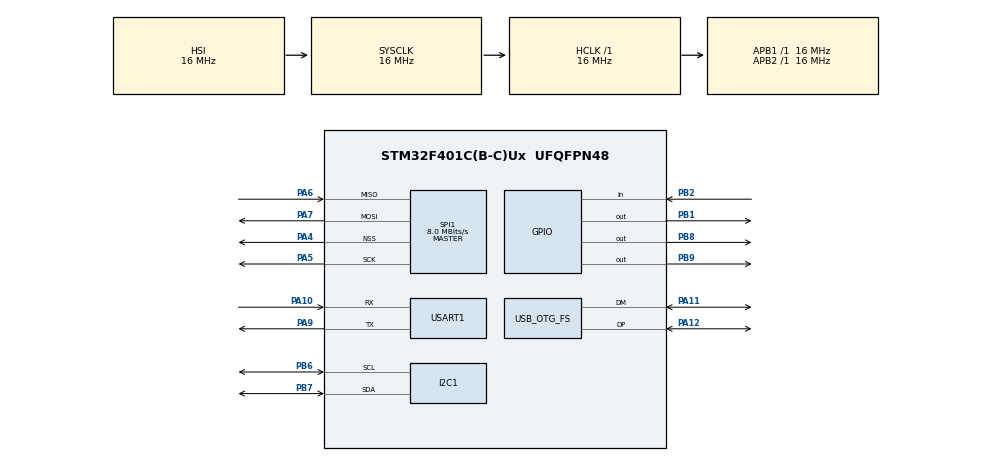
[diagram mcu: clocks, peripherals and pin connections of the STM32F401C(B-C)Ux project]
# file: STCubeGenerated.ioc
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FREERTOS.Tasks01=defaultTask,24,128,StartDefaultTask,Default,NULL,Dynamic,NULL,NULL;LEDOn,8,128,LEDTurnOn,Default,NULL,Dynamic,NULL,NULL;LEDOff,8,128,LEDTurnOff,Default,NULL,Dynamic,NULL,NULL
Mcu.Family=STM32F4
Mcu.Name=STM32F401C(B-C)Ux
Mcu.Package=UFQFPN48
NVIC.OTG_FS_IRQn=true\:5\:0\:false\:false\:true\:true\:false\:true
NVIC.PriorityGroup=NVIC_PRIORITYGROUP_4
NVIC.TIM3_IRQn=true\:0\:0\:false\:false\:true\:false\:false\:true
NVIC.TimeBase=TIM3_IRQn
NVIC.TimeBaseIP=TIM3
PA10.Mode=Asynchronous
PA10.Signal=USART1_RX
PA11.Mode=Device_Only
PA11.Signal=USB_OTG_FS_DM
PA12.Mode=Device_Only
PA12.Signal=USB_OTG_FS_DP
PA13.Mode=Serial_Wire
PA13.Signal=SYS_JTMS-SWDIO
PA14.Mode=Serial_Wire
PA14.Signal=SYS_JTCK-SWCLK
PA4.Mode=NSS_Signal_Hard_Output
PA4.Signal=SPI1_NSS
PA5.Mode=Full_Duplex_Master
PA5.Signal=SPI1_SCK
PA6.Mode=Full_Duplex_Master
PA6.Signal=SPI1_MISO
PA7.Mode=Full_Duplex_Master
PA7.Signal=SPI1_MOSI
PA9.Mode=Asynchronous
PA9.Signal=USART1_TX
PB1.Signal=GPIO_Output
PB2.Signal=GPIO_Input
PB6.Mode=I2C
PB6.Signal=I2C1_SCL
PB7.Mode=I2C
PB7.Signal=I2C1_SDA
PB8.Signal=GPIO_Output
PB9.Signal=GPIO_Output
PC14-OSC32_IN.Mode=LSE-External-Oscillator
PC14-OSC32_IN.Signal=RCC_OSC32_IN
PC15-OSC32_OUT.Mode=LSE-External-Oscillator
PC15-OSC32_OUT.Signal=RCC_OSC32_OUT
PH0\ -\ OSC_IN.Mode=HSE-External-Oscillator
PH0\ -\ OSC_IN.Signal=RCC_OSC_IN
PH1\ -\ OSC_OUT.Mode=HSE-External-Oscillator
PH1\ -\ OSC_OUT.Signal=RCC_OSC_OUT
ProjectManager.HeapSize=0x200
ProjectManager.StackSize=0x400
ProjectManager.TargetToolchain=MDK-ARM V5
RCC.48MHZClocksFreq_Value=48000000
RCC.AHBFreq_Value=16000000
RCC.APB1Freq_Value=16000000
RCC.APB2Freq_Value=16000000
RCC.CortexFreq_Value=16000000
RCC.HSE_VALUE=25000000
RCC.HSI_VALUE=16000000
RCC.PLLM=15
RCC.PLLN=144
RCC.PLLQ=5
RCC.SYSCLKFreq_VALUE=16000000
RCC.VCOOutputFreq_Value=240000000
SPI1.CalculateBaudRate=8.0 MBits/s
SPI1.Direction=SPI_DIRECTION_2LINES
SPI1.Mode=SPI_MODE_MASTER
SPI1.VirtualNSS=VM_NSSHARD
SPI1.VirtualType=VM_MASTER
USART1.VirtualMode=VM_ASYNC
USB_DEVICE.CLASS_NAME_FS=DFU
USB_DEVICE.VirtualMode=Dfu
USB_DEVICE.VirtualModeFS=Dfu_FS
USB_OTG_FS.VirtualMode=Device_Only
VP_FREERTOS_VS_CMSIS_V2.Mode=CMSIS_V2
VP_SYS_VS_tim3.Mode=TIM3
VP_USB_DEVICE_VS_USB_DEVICE_DFU_FS.Mode=DFU_FS
board=custom

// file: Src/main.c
/* USER CODE BEGIN Header */
/**
  ******************************************************************************
  * @file           : main.c
  * @brief          : Main program body
  ******************************************************************************
  * @attention
  *
  * <h2><center>&copy; Copyright (c) 2021 STMicroelectronics.
  * All rights reserved.</center></h2>
  *
  * This software component is licensed by ST under Ultimate Liberty license
  * SLA0044, the "License"; You may not use this file except in compliance with
  * the License. You may obtain a copy of the License at:
  *                             www.st.com/SLA0044
  *
  ******************************************************************************
  */
/* USER CODE END Header */
#include "main.h"
#include "cmsis_os.h"
#include "i2c.h"
#include "spi.h"
#include "usart.h"
#include "usb_device.h"
#include "gpio.h"

/* USER CODE BEGIN Includes */
#include "ssd1306.h"
#include "fonts.h"
#include "test.h"
#include "GPS.h"
/* USER CODE END Includes */

void SystemClock_Config(void);
void MX_FREERTOS_Init(void);

/* USER CODE BEGIN 0 */
void HAL_UART_RxCpltCallback(UART_HandleTypeDef *huart)
{
  GPS_CallBack();
}
/* USER CODE END 0 */

int main(void)
{

  /* MCU Configuration--------------------------------------------------------*/

  /* Reset of all peripherals, Initializes the Flash interface and the Systick. */
  HAL_Init();

  /* Configure the system clock */
  SystemClock_Config();

  /* Initialize all configured peripherals */
  MX_GPIO_Init();
  MX_I2C1_Init();
  MX_SPI1_Init();
  MX_USART1_UART_Init();
  /* USER CODE BEGIN 2 */
  SSD1306_Init (); // initialize the display
  SSD1306_Clear();
  GPS_Init();

  /* USER CODE END 2 */

  /* Init scheduler */
  osKernelInitialize();  /* Call init function for freertos objects (in freertos.c) */
  MX_FREERTOS_Init();
  /* Start scheduler */
  osKernelStart();

  /* We should never get here as control is now taken by the scheduler */
  /* Infinite loop */
  while (1)
  {

  }
}

void SystemClock_Config(void)
{
  RCC_OscInitTypeDef RCC_OscInitStruct = {0};
  RCC_ClkInitTypeDef RCC_ClkInitStruct = {0};

  /** Configure the main internal regulator output voltage
  */
  __HAL_RCC_PWR_CLK_ENABLE();
  __HAL_PWR_VOLTAGESCALING_CONFIG(PWR_REGULATOR_VOLTAGE_SCALE2);
  /** Initializes the RCC Oscillators according to the specified parameters
  * in the RCC_OscInitTypeDef structure.
  */
  RCC_OscInitStruct.OscillatorType = RCC_OSCILLATORTYPE_HSI|RCC_OSCILLATORTYPE_HSE;
  RCC_OscInitStruct.HSEState = RCC_HSE_ON;
  RCC_OscInitStruct.HSIState = RCC_HSI_ON;
  RCC_OscInitStruct.HSICalibrationValue = RCC_HSICALIBRATION_DEFAULT;
  RCC_OscInitStruct.PLL.PLLState = RCC_PLL_ON;
  RCC_OscInitStruct.PLL.PLLSource = RCC_PLLSOURCE_HSE;
  RCC_OscInitStruct.PLL.PLLM = 15;
  RCC_OscInitStruct.PLL.PLLN = 144;
  RCC_OscInitStruct.PLL.PLLP = RCC_PLLP_DIV2;
  RCC_OscInitStruct.PLL.PLLQ = 5;
  if (HAL_RCC_OscConfig(&RCC_OscInitStruct) != HAL_OK)
  {
    Error_Handler();
  }
  /** Initializes the CPU, AHB and APB buses clocks
  */
  RCC_ClkInitStruct.ClockType = RCC_CLOCKTYPE_HCLK|RCC_CLOCKTYPE_SYSCLK
                              |RCC_CLOCKTYPE_PCLK1|RCC_CLOCKTYPE_PCLK2;
  RCC_ClkInitStruct.SYSCLKSource = RCC_SYSCLKSOURCE_HSI;
  RCC_ClkInitStruct.AHBCLKDivider = RCC_SYSCLK_DIV1;
  RCC_ClkInitStruct.APB1CLKDivider = RCC_HCLK_DIV1;
  RCC_ClkInitStruct.APB2CLKDivider = RCC_HCLK_DIV1;

  if (HAL_RCC_ClockConfig(&RCC_ClkInitStruct, FLASH_LATENCY_0) != HAL_OK)
  {
    Error_Handler();
  }
}

 /**
  * @brief  Period elapsed callback in non blocking mode
  * @note   This function is called  when TIM3 interrupt took place, inside
  * HAL_TIM_IRQHandler(). It makes a direct call to HAL_IncTick() to increment
  * a global variable "uwTick" used as application time base.
  * @param  htim : TIM handle
  * @retval None
  */
void HAL_TIM_PeriodElapsedCallback(TIM_HandleTypeDef *htim)
{
  if (htim->Instance == TIM3) {
    HAL_IncTick();
  }
}

void Error_Handler(void)
{
  __disable_irq();
  while (1)
  {
  }
}

/************************ (C) COPYRIGHT STMicroelectronics *****END OF FILE****/

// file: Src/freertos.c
/* USER CODE BEGIN Header */
/**
  ******************************************************************************
  * File Name          : freertos.c
  * Description        : Code for freertos applications
  ******************************************************************************
  * @attention
  *
  * <h2><center>&copy; Copyright (c) 2021 STMicroelectronics.
  * All rights reserved.</center></h2>
  *
  * This software component is licensed by ST under Ultimate Liberty license
  * SLA0044, the "License"; You may not use this file except in compliance with
  * the License. You may obtain a copy of the License at:
  *                             www.st.com/SLA0044
  *
  ******************************************************************************
  */
/* USER CODE END Header */

#include "FreeRTOS.h"
#include "task.h"
#include "main.h"
#include "cmsis_os.h"

/* USER CODE BEGIN Includes */
#include "ssd1306.h"
#include "fonts.h"
#include "test.h"
#include "stdio.h"
#include "GPS.h"
/* USER CODE END Includes */

/* Definitions for defaultTask */
osThreadId_t defaultTaskHandle;
const osThreadAttr_t defaultTask_attributes = {
  .name = "defaultTask",
  .stack_size = 128 * 4,
  .priority = (osPriority_t) osPriorityNormal,
};
/* Definitions for LEDOn */
osThreadId_t LEDOnHandle;
const osThreadAttr_t LEDOn_attributes = {
  .name = "LEDOn",
  .stack_size = 128 * 4,
  .priority = (osPriority_t) osPriorityLow,
};
/* Definitions for LEDOff */
osThreadId_t LEDOffHandle;
const osThreadAttr_t LEDOff_attributes = {
  .name = "LEDOff",
  .stack_size = 128 * 4,
  .priority = (osPriority_t) osPriorityLow,
};

void StartDefaultTask(void *argument);
void LEDTurnOn(void *argument);
void LEDTurnOff(void *argument);

extern void MX_USB_DEVICE_Init(void);
void MX_FREERTOS_Init(void); /* (MISRA C 2004 rule 8.1) */

void MX_FREERTOS_Init(void) {

  /* Create the thread(s) */
  /* creation of defaultTask */
  defaultTaskHandle = osThreadNew(StartDefaultTask, NULL, &defaultTask_attributes);

  /* creation of LEDOn */
  LEDOnHandle = osThreadNew(LEDTurnOn, NULL, &LEDOn_attributes);

  /* creation of LEDOff */
  LEDOffHandle = osThreadNew(LEDTurnOff, NULL, &LEDOff_attributes);

}

void StartDefaultTask(void *argument)
{
  /* init code for USB_DEVICE */
  MX_USB_DEVICE_Init();
  for(;;)
  {
    osDelay(1);
  }
}

void LEDTurnOn(void *argument)
{
  /* USER CODE BEGIN LEDTurnOn */
  /* Infinite loop */
  for(;;)
  {
	HAL_GPIO_TogglePin(GPIOB, GPIO_PIN_8);
	//HAL_GPIO_TogglePin(GPIOB, GPIO_PIN_9);
    osDelay(300);
  }
  /* USER CODE END LEDTurnOn */
}

void LEDTurnOff(void *argument)
{
  /* USER CODE BEGIN LEDTurnOff */
  /* Infinite loop */
  for(;;)
  {
	static uint16_t counter = 0;
	char numbers[5];

	GPS_Process();

	SSD1306_GotoXY (0,0);
	SSD1306_Puts ("LAT:", &Font_7x10, 1);

	SSD1306_GotoXY (40, 0);
	SSD1306_Putc(convertDegMinToDecDeg(GPS.GPGGA.LongitudeDecimal), &Font_7x10, 1);

	SSD1306_GotoXY (0,32);
	SSD1306_Puts ("LONG:", &Font_7x10, 1);

	SSD1306_GotoXY (40, 32);
	SSD1306_Putc(convertDegMinToDecDeg(GPS.GPGGA.LatitudeDecimal), &Font_7x10, 1);

	SSD1306_UpdateScreen();

	counter++;
	osDelay(1000);
  }
  /* USER CODE END LEDTurnOff */
}

/************************ (C) COPYRIGHT STMicroelectronics *****END OF FILE****/
